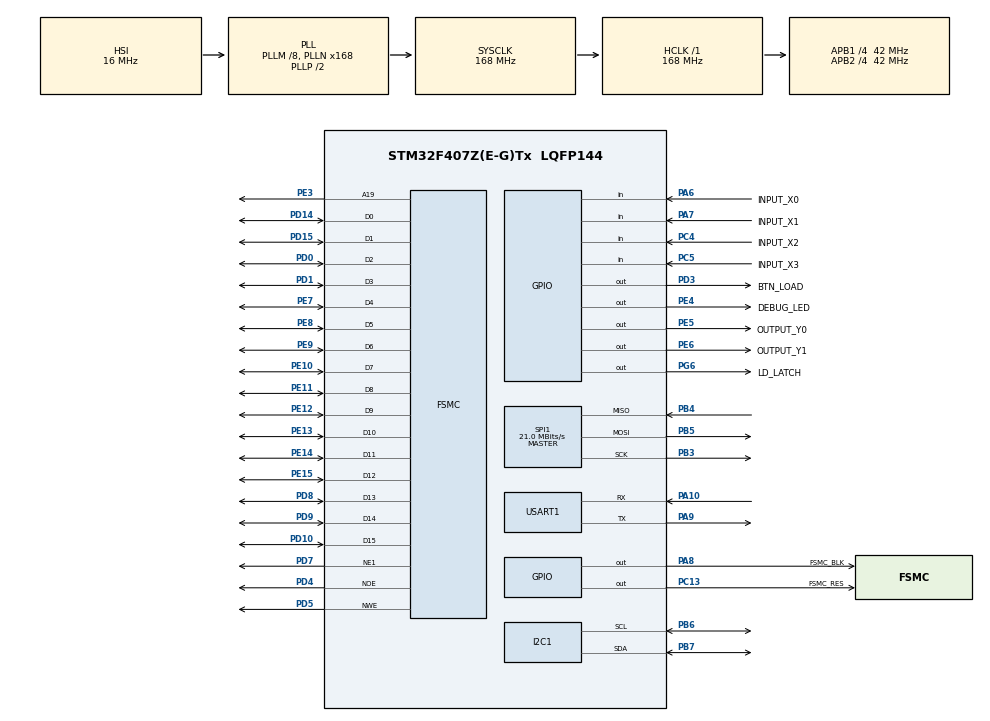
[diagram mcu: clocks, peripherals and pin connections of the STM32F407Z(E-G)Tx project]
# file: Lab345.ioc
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FSMC.AddressSetupTime1=0xf
FSMC.BusTurnAroundDuration1=0
FSMC.DataSetupTime1=60
FSMC.ExtendedAddressSetupTime1=8
FSMC.ExtendedBusTurnAroundDuration1=0
FSMC.ExtendedDataSetupTime1=9
FSMC.ExtendedMode1=FSMC_EXTENDED_MODE_ENABLE
Mcu.Family=STM32F4
Mcu.Name=STM32F407Z(E-G)Tx
Mcu.Package=LQFP144
NVIC.PriorityGroup=NVIC_PRIORITYGROUP_4
NVIC.TIM2_IRQn=true\:0\:0\:false\:false\:true\:true\:true\:true
NVIC.USART1_IRQn=true\:0\:0\:false\:false\:true\:true\:true\:true
PA10.Mode=Asynchronous
PA10.Signal=USART1_RX
PA13.Mode=Serial_Wire
PA13.Signal=SYS_JTMS-SWDIO
PA14.Mode=Serial_Wire
PA14.Signal=SYS_JTCK-SWCLK
PA6.GPIO_Label=INPUT_X0
PA6.Signal=GPIO_Input
PA7.GPIO_Label=INPUT_X1
PA7.Signal=GPIO_Input
PA8.GPIO_Label=FSMC_BLK
PA8.Signal=GPIO_Output
PA9.Mode=Asynchronous
PA9.Signal=USART1_TX
PB3.Mode=Full_Duplex_Master
PB3.Signal=SPI1_SCK
PB4.Mode=Full_Duplex_Master
PB4.Signal=SPI1_MISO
PB5.Mode=Full_Duplex_Master
PB5.Signal=SPI1_MOSI
PB6.Mode=I2C
PB6.Signal=I2C1_SCL
PB7.Mode=I2C
PB7.Signal=I2C1_SDA
PC13-ANTI_TAMP.GPIO_Label=FSMC_RES
PC13-ANTI_TAMP.Signal=GPIO_Output
PC4.GPIO_Label=INPUT_X2
PC4.Signal=GPIO_Input
PC5.GPIO_Label=INPUT_X3
PC5.Signal=GPIO_Input
PD0.Signal=FSMC_D2_DA2
PD1.Signal=FSMC_D3_DA3
PD10.Signal=FSMC_D15_DA15
PD14.Signal=FSMC_D0_DA0
PD15.Signal=FSMC_D1_DA1
PD3.GPIO_Label=BTN_LOAD
PD3.Signal=GPIO_Output
PD4.Signal=FSMC_NOE
PD5.Signal=FSMC_NWE
PD7.Mode=NorPsramChipSelect1_1
PD7.Signal=FSMC_NE1
PD8.Signal=FSMC_D13_DA13
PD9.Signal=FSMC_D14_DA14
PE10.Signal=FSMC_D7_DA7
PE11.Signal=FSMC_D8_DA8
PE12.Signal=FSMC_D9_DA9
PE13.Signal=FSMC_D10_DA10
PE14.Signal=FSMC_D11_DA11
PE15.Signal=FSMC_D12_DA12
PE3.Signal=FSMC_A19
PE4.GPIO_Label=DEBUG_LED
PE4.Signal=GPIO_Output
PE5.GPIO_Label=OUTPUT_Y0
PE5.Signal=GPIO_Output
PE6.GPIO_Label=OUTPUT_Y1
PE6.Signal=GPIO_Output
PE7.Signal=FSMC_D4_DA4
PE8.Signal=FSMC_D5_DA5
PE9.Signal=FSMC_D6_DA6
PG6.GPIO_Label=LD_LATCH
PG6.Signal=GPIO_Output
PH0-OSC_IN.Mode=HSE-External-Oscillator
PH0-OSC_IN.Signal=RCC_OSC_IN
PH1-OSC_OUT.Mode=HSE-External-Oscillator
PH1-OSC_OUT.Signal=RCC_OSC_OUT
ProjectManager.HeapSize=0x200
ProjectManager.StackSize=0x400
ProjectManager.TargetToolchain=STM32CubeIDE
RCC.48MHZClocksFreq_Value=84000000
RCC.AHBFreq_Value=168000000
RCC.APB1CLKDivider=RCC_HCLK_DIV4
RCC.APB1Freq_Value=42000000
RCC.APB1TimFreq_Value=84000000
RCC.APB2CLKDivider=RCC_HCLK_DIV4
RCC.APB2Freq_Value=42000000
RCC.APB2TimFreq_Value=84000000
RCC.CortexFreq_Value=168000000
RCC.HCLKFreq_Value=168000000
RCC.HSE_VALUE=8000000
RCC.HSI_VALUE=16000000
RCC.LSE_VALUE=32768
RCC.PLLM=8
RCC.PLLN=168
RCC.SYSCLKFreq_VALUE=168000000
RCC.SYSCLKSource=RCC_SYSCLKSOURCE_PLLCLK
RCC.VCOOutputFreq_Value=336000000
SH.FSMC_A19.0=FSMC_A19,A19_1
SH.FSMC_D0_DA0.0=FSMC_D0,16b-d1
SH.FSMC_D10_DA10.0=FSMC_D10,16b-d1
SH.FSMC_D11_DA11.0=FSMC_D11,16b-d1
SH.FSMC_D12_DA12.0=FSMC_D12,16b-d1
SH.FSMC_D13_DA13.0=FSMC_D13,16b-d1
SH.FSMC_D14_DA14.0=FSMC_D14,16b-d1
SH.FSMC_D15_DA15.0=FSMC_D15,16b-d1
SH.FSMC_D1_DA1.0=FSMC_D1,16b-d1
SH.FSMC_D2_DA2.0=FSMC_D2,16b-d1
SH.FSMC_D3_DA3.0=FSMC_D3,16b-d1
SH.FSMC_D4_DA4.0=FSMC_D4,16b-d1
SH.FSMC_D5_DA5.0=FSMC_D5,16b-d1
SH.FSMC_D6_DA6.0=FSMC_D6,16b-d1
SH.FSMC_D7_DA7.0=FSMC_D7,16b-d1
SH.FSMC_D8_DA8.0=FSMC_D8,16b-d1
SH.FSMC_D9_DA9.0=FSMC_D9,16b-d1
SH.FSMC_NOE.0=FSMC_NOE,Lcd1
SH.FSMC_NWE.0=FSMC_NWE,Lcd1
SPI1.BaudRatePrescaler=SPI_BAUDRATEPRESCALER_2
SPI1.CalculateBaudRate=21.0 MBits/s
SPI1.Direction=SPI_DIRECTION_2LINES
SPI1.Mode=SPI_MODE_MASTER
SPI1.VirtualType=VM_MASTER
TIM2.Period=100-1
TIM2.Prescaler=840-1
USART1.VirtualMode=VM_ASYNC
VP_TIM2_VS_ClockSourceINT.Mode=Internal
board=custom

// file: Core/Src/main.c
/* USER CODE BEGIN Header */
/**
 ******************************************************************************
 * @file           : main.c
 * @brief          : Main program body
 ******************************************************************************
 * @attention
 *
 * <h2><center>&copy; Copyright (c) 2023 STMicroelectronics.
 * All rights reserved.</center></h2>
 *
 * This software component is licensed by ST under BSD 3-Clause license,
 * the "License"; You may not use this file except in compliance with the
 * License. You may obtain a copy of the License at:
 *                        opensource.org/licenses/BSD-3-Clause
 *
 ******************************************************************************
 */
/* USER CODE END Header */
#include "main.h"
#include "i2c.h"
#include "spi.h"
#include "tim.h"
#include "usart.h"
#include "gpio.h"
#include "fsmc.h"

/* USER CODE BEGIN Includes */
#include "button.h"
#include "ds3231.h"
#include "lcd.h"
#include "led_7seg.h"
#include "picture.h"
#include "realtime-clock/fsm_c_api.h"
#include "software_timer.h"
/* USER CODE END Includes */

/* USER CODE BEGIN PV */
uint8_t count_led_debug = 0;
/* USER CODE END PV */

void SystemClock_Config(void);
/* USER CODE BEGIN PFP */
void system_init();
void test_LedDebug();
void displayTime();
void updateTime();
/* USER CODE END PFP */

int main(void)
{

  /* MCU Configuration--------------------------------------------------------*/

  /* Reset of all peripherals, Initializes the Flash interface and the Systick. */
  HAL_Init();

  /* Configure the system clock */
  SystemClock_Config();

  /* Initialize all configured peripherals */
  MX_GPIO_Init();
  MX_TIM2_Init();
  MX_SPI1_Init();
  MX_FSMC_Init();
  MX_I2C1_Init();
  MX_USART1_UART_Init();
  /* USER CODE BEGIN 2 */
  system_init();
  /* USER CODE END 2 */

  /* Infinite loop */
  /* USER CODE BEGIN WHILE */
  lcd_Clear(BLACK);
  updateTime();
  init_fsm();
  while (1) {
    while (!flag_timer2)
      ;
    flag_timer2 = 0;
    button_Scan();
    ds3231_ReadTime();
    fsm_run();
    // displayTime();  // Now handled by fsm_run()
    /* USER CODE END WHILE */

  }
}

void SystemClock_Config(void)
{
  RCC_OscInitTypeDef RCC_OscInitStruct = {0};
  RCC_ClkInitTypeDef RCC_ClkInitStruct = {0};

  /** Configure the main internal regulator output voltage
  */
  __HAL_RCC_PWR_CLK_ENABLE();
  __HAL_PWR_VOLTAGESCALING_CONFIG(PWR_REGULATOR_VOLTAGE_SCALE1);
  /** Initializes the RCC Oscillators according to the specified parameters
  * in the RCC_OscInitTypeDef structure.
  */
  RCC_OscInitStruct.OscillatorType = RCC_OSCILLATORTYPE_HSI;
  RCC_OscInitStruct.HSIState = RCC_HSI_ON;
  RCC_OscInitStruct.HSICalibrationValue = RCC_HSICALIBRATION_DEFAULT;
  RCC_OscInitStruct.PLL.PLLState = RCC_PLL_ON;
  RCC_OscInitStruct.PLL.PLLSource = RCC_PLLSOURCE_HSI;
  RCC_OscInitStruct.PLL.PLLM = 8;
  RCC_OscInitStruct.PLL.PLLN = 168;
  RCC_OscInitStruct.PLL.PLLP = RCC_PLLP_DIV2;
  RCC_OscInitStruct.PLL.PLLQ = 4;
  if (HAL_RCC_OscConfig(&RCC_OscInitStruct) != HAL_OK)
  {
    Error_Handler();
  }
  /** Initializes the CPU, AHB and APB buses clocks
  */
  RCC_ClkInitStruct.ClockType = RCC_CLOCKTYPE_HCLK|RCC_CLOCKTYPE_SYSCLK
                              |RCC_CLOCKTYPE_PCLK1|RCC_CLOCKTYPE_PCLK2;
  RCC_ClkInitStruct.SYSCLKSource = RCC_SYSCLKSOURCE_PLLCLK;
  RCC_ClkInitStruct.AHBCLKDivider = RCC_SYSCLK_DIV1;
  RCC_ClkInitStruct.APB1CLKDivider = RCC_HCLK_DIV4;
  RCC_ClkInitStruct.APB2CLKDivider = RCC_HCLK_DIV4;

  if (HAL_RCC_ClockConfig(&RCC_ClkInitStruct, FLASH_LATENCY_5) != HAL_OK)
  {
    Error_Handler();
  }
}

/* USER CODE BEGIN 4 */
void system_init() {
  HAL_GPIO_WritePin(OUTPUT_Y0_GPIO_Port, OUTPUT_Y0_Pin, 0);
  HAL_GPIO_WritePin(OUTPUT_Y1_GPIO_Port, OUTPUT_Y1_Pin, 0);
  HAL_GPIO_WritePin(DEBUG_LED_GPIO_Port, DEBUG_LED_Pin, 0);
  timer_init();
  led7_init();
  button_init();
  lcd_init();
  ds3231_init();
  setTimer2(50);
}

void test_LedDebug() {
  count_led_debug = (count_led_debug + 1) % 20;
  if (count_led_debug == 0) {
    HAL_GPIO_TogglePin(DEBUG_LED_GPIO_Port, DEBUG_LED_Pin);
  }
}

void test_7seg() {
  led7_SetDigit(0, 0, 0);
  led7_SetDigit(5, 1, 0);
  led7_SetDigit(4, 2, 0);
  led7_SetDigit(7, 3, 0);
}
void test_button() {
  for (int i = 0; i < 16; i++) {
    if (button_count[i] == 1) {
      led7_SetDigit(i / 10, 2, 0);
      led7_SetDigit(i % 10, 3, 0);
    }
  }
}

void updateTime() {
  ds3231_Write(ADDRESS_YEAR, 25);
  ds3231_Write(ADDRESS_MONTH, 11);
  ds3231_Write(ADDRESS_DATE, 4);
  ds3231_Write(ADDRESS_DAY, 5);
  ds3231_Write(ADDRESS_HOUR, 9);
  ds3231_Write(ADDRESS_MIN, 50);
  ds3231_Write(ADDRESS_SEC, 30);
}

void displayTime() {
  lcd_ShowIntNum(70, 100, ds3231_hours, 2, GREEN, BLACK, 24);
  lcd_ShowIntNum(110, 100, ds3231_min, 2, GREEN, BLACK, 24);
  lcd_ShowIntNum(150, 100, ds3231_sec, 2, GREEN, BLACK, 24);
  lcd_ShowIntNum(20, 130, ds3231_day, 2, YELLOW, BLACK, 24);
  lcd_ShowIntNum(70, 130, ds3231_date, 2, YELLOW, BLACK, 24);
  lcd_ShowIntNum(110, 130, ds3231_month, 2, YELLOW, BLACK, 24);
  lcd_ShowIntNum(150, 130, ds3231_year, 2, YELLOW, BLACK, 24);
}
/* USER CODE END 4 */

void Error_Handler(void)
{
  __disable_irq();
  while (1) {
  }
}

/************************ (C) COPYRIGHT STMicroelectronics *****END OF FILE****/
